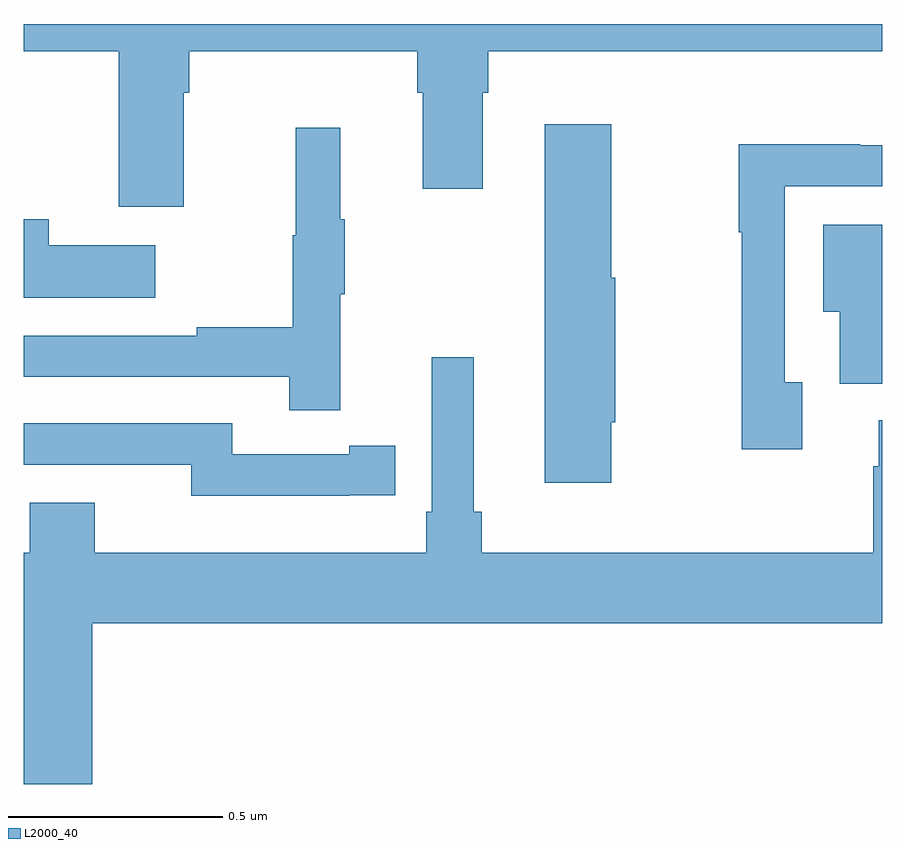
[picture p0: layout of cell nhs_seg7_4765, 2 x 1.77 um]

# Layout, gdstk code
import gdstk
lib = gdstk.Library(unit=1e-6, precision=1e-09)
def P(c, l, *ps):  # polygons
    for p in ps: c.add(gdstk.Polygon(p, *l))
L2000_40 = (2000, 40)

nhs_seg7_4765 = lib.new_cell('nhs_seg7_4765')
P(nhs_seg7_4765, L2000_40, [(177.373,1013.84),(177.386,1013.84),(177.386,1013.936),(177.917,1013.936),(177.917,1013.84),(177.929,1013.84),(177.929,1013.616),(178.069,1013.616),(178.069,1013.84),(178.082,1013.84),(178.082,1013.936),(179,1013.936),(179,1014),(177,1014),(177,1013.936),(177.221,1013.936),(177.221,1013.574),(177.373,1013.574)],
  [(178.368,1013.073),(178.378,1013.073),(178.378,1013.409),(178.368,1013.409),(178.368,1013.767),(178.214,1013.767),(178.214,1012.932),(178.368,1012.932)],
  [(177.737,1013.371),(177.748,1013.371),(177.748,1013.545),(177.737,1013.545),(177.737,1013.758),(177.634,1013.758),(177.634,1013.508),(177.627,1013.508),(177.627,1013.294),(177.403,1013.294),(177.403,1013.274),(177,1013.274),(177,1013.178),(177.619,1013.178),(177.619,1013.1),(177.737,1013.1)],
  [(178.813,1013.166),(178.773,1013.166),(178.773,1013.622),(179,1013.622),(179,1013.718),(178.949,1013.718),(178.949,1013.72),(178.665,1013.72),(178.665,1013.515),(178.672,1013.515),(178.672,1013.01),(178.813,1013.01)],
  [(177.307,1013.485),(177.059,1013.485),(177.059,1013.545),(177,1013.545),(177,1013.363),(177.307,1013.363)],
  [(179,1013.533),(178.862,1013.533),(178.862,1013.33),(178.901,1013.33),(178.901,1013.162),(179,1013.162)],
  [(177.16,1012.604),(179,1012.604),(179,1013.077),(178.991,1013.077),(178.991,1012.97),(178.979,1012.97),(178.979,1012.768),(178.067,1012.768),(178.067,1012.864),(178.048,1012.864),(178.048,1013.224),(177.951,1013.224),(177.951,1012.864),(177.938,1012.864),(177.938,1012.768),(177.166,1012.768),(177.166,1012.885),(177.014,1012.885),(177.014,1012.768),(177,1012.768),(177,1012.23),(177.16,1012.23)],
  [(177.758,1012.902),(177.866,1012.902),(177.866,1013.018),(177.758,1013.018),(177.758,1012.998),(177.486,1012.998),(177.486,1013.07),(177,1013.07),(177,1012.974),(177.39,1012.974),(177.39,1012.901),(177.758,1012.901)])

lib.write_gds('nhs_seg7_4765.gds')
